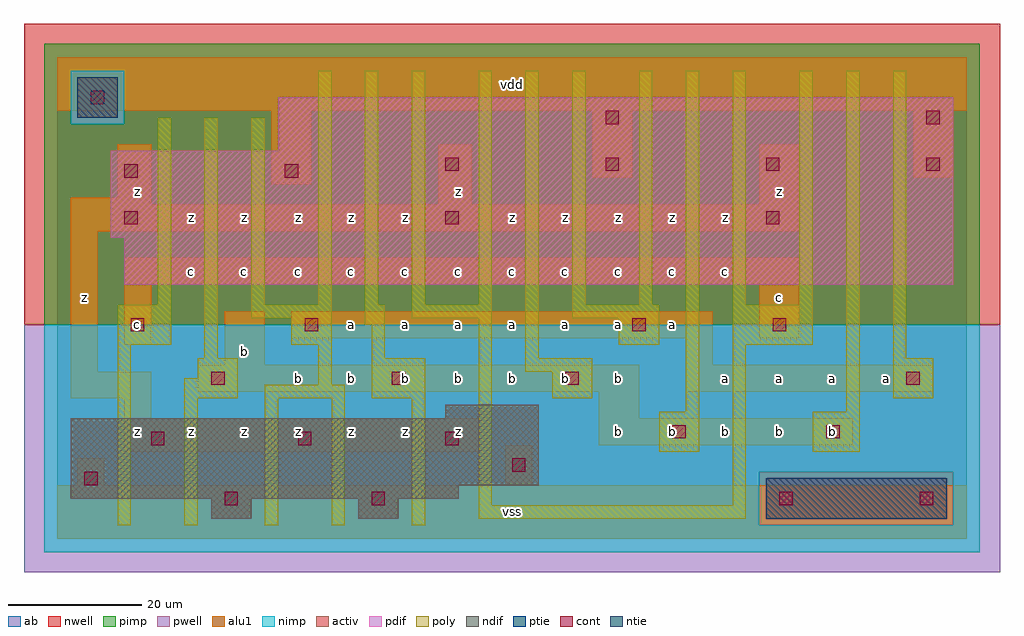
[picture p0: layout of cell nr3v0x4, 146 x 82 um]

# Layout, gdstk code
import gdstk
lib = gdstk.Library(unit=1e-6, precision=1e-09)
def R(c, l, rs):  # rectangles x0, y0, x1, y1
    for r in rs: c.add(gdstk.rectangle(r[:2], r[2:], *l))
def A(c, l, x, y, w, h, nx, ny, dx, dy):  # array of equal rectangles
    R(c, l, [(x+i*dx, y+j*dy, x+i*dx+w, y+j*dy+h) for i in range(nx) for j in range(ny)])
ndif = (3, 0)
pdif = (4, 0)
ntie = (5, 0)
ptie = (6, 0)
cont = (25, 0)
pwell = (41, 0)
nwell = (42, 0)
activ = (43, 0)
pimp = (44, 0)
nimp = (45, 0)
poly = (46, 0)
alu1 = (49, 0)
ab = (63, 0)

nr3v0x4 = lib.new_cell('nr3v0x4')
R(nr3v0x4, ndif, [(23,3,29,6), (45,3,51,6), (2,6,60,8), (2,8,72,18), (58,18,72,20)])
R(nr3v0x4, pdif, [(10,38,134,45), (8,45,134,58), (33,58,134,66)])
R(nr3v0x4, ntie, [(3,63,9,69)])
R(nr3v0x4, ptie, [(106,3,133,9)])
A(nr3v0x4, cont, 14, 14, 2, 2, 3, 1, 22, 0)
A(nr3v0x4, cont, 10, 47, 2, 2, 3, 1, 48, 0)
A(nr3v0x4, cont, 58, 55, 2, 2, 4, 1, 24, 0)
R(nr3v0x4, cont, [(25,5,27,7), (47,5,49,7), (108,5,110,7), (129,5,131,7), (4,8,6,10), (68,10,70,12), (92,15,94,17), (115,15,117,17), (23,23,25,25), (50,23,52,25), (76,23,78,25), (127,23,129,25), (11,31,13,33), (37,31,39,33), (86,31,88,33), (107,31,109,33), (10,54,12,56), (34,54,36,56), (82,62,84,64), (130,62,132,64), (5,65,7,67)])
R(nr3v0x4, pwell, [(-5,-5,141,32)])
R(nr3v0x4, nwell, [(-5,32,141,77)])
R(nr3v0x4, activ, [(23,3,29,6), (45,3,51,6), (106,3,133,9), (2,6,60,8), (2,8,72,18), (58,18,72,20), (10,38,134,45), (8,45,134,58), (33,58,134,66), (3,63,9,69)])
R(nr3v0x4, pimp, [(105,2,134,10), (-2,32,138,62), (-2,62,2,70), (10,62,138,70), (-2,70,138,74)])
R(nr3v0x4, nimp, [(-2,-2,138,2), (-2,2,105,10), (134,2,138,10), (-2,10,138,32), (2,62,10,70)])
A(nr3v0x4, poly, 39, 35, 2, 35, 3, 1, 7, 0)
R(nr3v0x4, poly, [(9,2,11,29), (19,2,21,21), (31,2,33,21), (41,2,43,21), (53,2,55,21), (63,3,103,5), (63,5,65,33), (101,5,103,29), (90,13,96,19), (113,13,120,19), (94,19,96,70), (118,19,120,70), (19,21,27,24), (31,21,43,23), (47,21,55,27), (74,21,80,25), (125,21,131,27), (39,23,41,29), (21,24,27,27), (70,25,80,27), (22,27,24,63), (47,27,49,32), (70,27,72,70), (125,27,127,70), (9,29,17,35), (35,29,41,33), (84,29,90,33), (101,29,113,35), (46,32,49,35), (29,33,41,35), (53,33,65,35), (77,33,90,35), (15,35,17,63), (29,35,31,63), (63,35,65,70), (77,35,79,70), (87,35,89,70), (101,35,103,70), (111,35,113,70)])
R(nr3v0x4, alu1, [(0,0,136,8), (3,8,7,12), (67,8,71,14), (10,13,63,18), (81,14,119,18), (10,18,14,21), (81,18,87,22), (2,21,14,25), (21,22,87,26), (94,22,131,26), (2,25,6,46), (25,26,31,34), (94,26,98,30), (10,29,14,38), (35,30,98,34), (105,30,111,38), (10,38,111,42), (2,46,111,50), (2,50,14,51), (57,50,62,59), (105,50,111,59), (9,51,14,59), (32,53,38,64), (80,54,86,64), (128,54,134,64), (0,64,136,72)])
R(nr3v0x4, ab, [(0,0,136,72)])
nr3v0x4.add(gdstk.Label('z', (12,16), layer=49, texttype=0))
nr3v0x4.add(gdstk.Label('z', (20,16), layer=49, texttype=0))
nr3v0x4.add(gdstk.Label('c', (12,32), layer=49, texttype=0))
nr3v0x4.add(gdstk.Label('c', (20,40), layer=49, texttype=0))
nr3v0x4.add(gdstk.Label('z', (4,36), layer=49, texttype=0))
nr3v0x4.add(gdstk.Label('z', (20,48), layer=49, texttype=0))
nr3v0x4.add(gdstk.Label('z', (12,52), layer=49, texttype=0))
nr3v0x4.add(gdstk.Label('z', (36,16), layer=49, texttype=0))
nr3v0x4.add(gdstk.Label('z', (44,16), layer=49, texttype=0))
nr3v0x4.add(gdstk.Label('z', (28,16), layer=49, texttype=0))
nr3v0x4.add(gdstk.Label('b', (44,24), layer=49, texttype=0))
nr3v0x4.add(gdstk.Label('b', (36,24), layer=49, texttype=0))
nr3v0x4.add(gdstk.Label('a', (44,32), layer=49, texttype=0))
nr3v0x4.add(gdstk.Label('b', (28,28), layer=49, texttype=0))
nr3v0x4.add(gdstk.Label('c', (28,40), layer=49, texttype=0))
nr3v0x4.add(gdstk.Label('c', (44,40), layer=49, texttype=0))
nr3v0x4.add(gdstk.Label('c', (36,40), layer=49, texttype=0))
nr3v0x4.add(gdstk.Label('z', (28,48), layer=49, texttype=0))
nr3v0x4.add(gdstk.Label('z', (44,48), layer=49, texttype=0))
nr3v0x4.add(gdstk.Label('z', (36,48), layer=49, texttype=0))
nr3v0x4.add(gdstk.Label('vss', (68,4), layer=49, texttype=0))
nr3v0x4.add(gdstk.Label('z', (60,16), layer=49, texttype=0))
nr3v0x4.add(gdstk.Label('z', (52,16), layer=49, texttype=0))
nr3v0x4.add(gdstk.Label('b', (52,24), layer=49, texttype=0))
nr3v0x4.add(gdstk.Label('b', (68,24), layer=49, texttype=0))
nr3v0x4.add(gdstk.Label('b', (76,24), layer=49, texttype=0))
nr3v0x4.add(gdstk.Label('b', (60,24), layer=49, texttype=0))
nr3v0x4.add(gdstk.Label('a', (60,32), layer=49, texttype=0))
nr3v0x4.add(gdstk.Label('a', (68,32), layer=49, texttype=0))
nr3v0x4.add(gdstk.Label('a', (76,32), layer=49, texttype=0))
nr3v0x4.add(gdstk.Label('a', (52,32), layer=49, texttype=0))
nr3v0x4.add(gdstk.Label('c', (52,40), layer=49, texttype=0))
nr3v0x4.add(gdstk.Label('c', (68,40), layer=49, texttype=0))
nr3v0x4.add(gdstk.Label('c', (76,40), layer=49, texttype=0))
nr3v0x4.add(gdstk.Label('c', (60,40), layer=49, texttype=0))
nr3v0x4.add(gdstk.Label('z', (52,48), layer=49, texttype=0))
nr3v0x4.add(gdstk.Label('z', (68,48), layer=49, texttype=0))
nr3v0x4.add(gdstk.Label('z', (76,48), layer=49, texttype=0))
nr3v0x4.add(gdstk.Label('z', (60,52), layer=49, texttype=0))
nr3v0x4.add(gdstk.Label('vdd', (68,68), layer=49, texttype=0))
nr3v0x4.add(gdstk.Label('b', (92,16), layer=49, texttype=0))
nr3v0x4.add(gdstk.Label('b', (108,16), layer=49, texttype=0))
nr3v0x4.add(gdstk.Label('b', (100,16), layer=49, texttype=0))
nr3v0x4.add(gdstk.Label('b', (84,16), layer=49, texttype=0))
nr3v0x4.add(gdstk.Label('b', (84,24), layer=49, texttype=0))
nr3v0x4.add(gdstk.Label('a', (108,24), layer=49, texttype=0))
nr3v0x4.add(gdstk.Label('a', (100,24), layer=49, texttype=0))
nr3v0x4.add(gdstk.Label('a', (92,32), layer=49, texttype=0))
nr3v0x4.add(gdstk.Label('a', (84,32), layer=49, texttype=0))
nr3v0x4.add(gdstk.Label('c', (84,40), layer=49, texttype=0))
nr3v0x4.add(gdstk.Label('c', (92,40), layer=49, texttype=0))
nr3v0x4.add(gdstk.Label('c', (108,36), layer=49, texttype=0))
nr3v0x4.add(gdstk.Label('c', (100,40), layer=49, texttype=0))
nr3v0x4.add(gdstk.Label('z', (84,48), layer=49, texttype=0))
nr3v0x4.add(gdstk.Label('z', (92,48), layer=49, texttype=0))
nr3v0x4.add(gdstk.Label('z', (108,52), layer=49, texttype=0))
nr3v0x4.add(gdstk.Label('z', (100,48), layer=49, texttype=0))
nr3v0x4.add(gdstk.Label('b', (116,16), layer=49, texttype=0))
nr3v0x4.add(gdstk.Label('a', (116,24), layer=49, texttype=0))
nr3v0x4.add(gdstk.Label('a', (124,24), layer=49, texttype=0))

lib.write_gds('nr3v0x4.gds')
